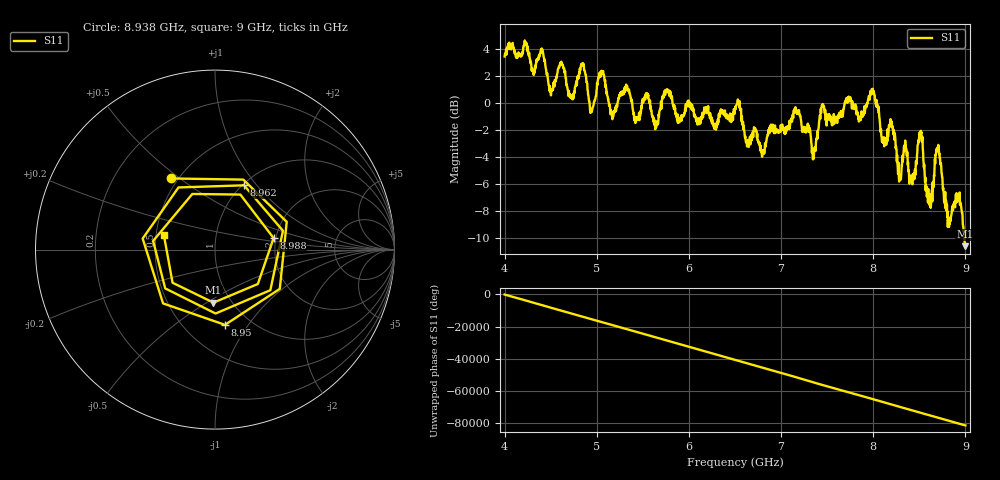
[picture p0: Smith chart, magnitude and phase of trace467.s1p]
! Created with skrf 1.8.0 (http://scikit-rf.org).
# Hz S RI R 50.0
!freq ReS11 ImS11
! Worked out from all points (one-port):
!   1601 points, 4 GHz to 9 GHz, reference 50 ohm
!   lowest |S11| = -10.6 dB at 8.994 GHz (marker M1), VSWR 1.84, Z = 41.3 - j26.8 ohm
!   |S11| at or under -10 dB: 8.989832 GHz to end of sweep
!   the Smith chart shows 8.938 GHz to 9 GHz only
!   S11 on the Smith chart (normalised r, x): 8.938 GHz: 0.46, +0.46; 8.95 GHz: 0.77, -0.79; 8.962 GHz: 1.02, +0.86; 8.988 GHz: 1.94, +0.28; 9 GHz: 0.55, +0.10
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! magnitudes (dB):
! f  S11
! 4 GHz  3.4
! 4.625 GHz  2.8
! 4.725 GHz  0.4
! 4.85 GHz  2.7
! 4.941 GHz  -0.4
! 5.047 GHz  2.2
! 5.162 GHz  -0.9
! 5.25 GHz  0.6
! 5.875 GHz  -1.3
! 6.5 GHz  -0.5
! 6.797 GHz  -3.6
! 7.125 GHz  -0.9
! 7.353 GHz  -4.1
! 7.444 GHz  -0.1
! 7.75 GHz  0.4
! 7.994 GHz  1.0
! 8.106 GHz  -2.7
! 8.375 GHz  -4.6
! 8.509 GHz  -2.3
! 8.606 GHz  -7.0
! 8.7 GHz  -3.3
! 8.822 GHz  -9.2
! 8.938 GHz  -6.6
! 8.95 GHz  -7.5
! 8.962 GHz  -8.1
! 8.988 GHz  -9.6
! 8.994 GHz  -10.6
! 9 GHz  -10.6
